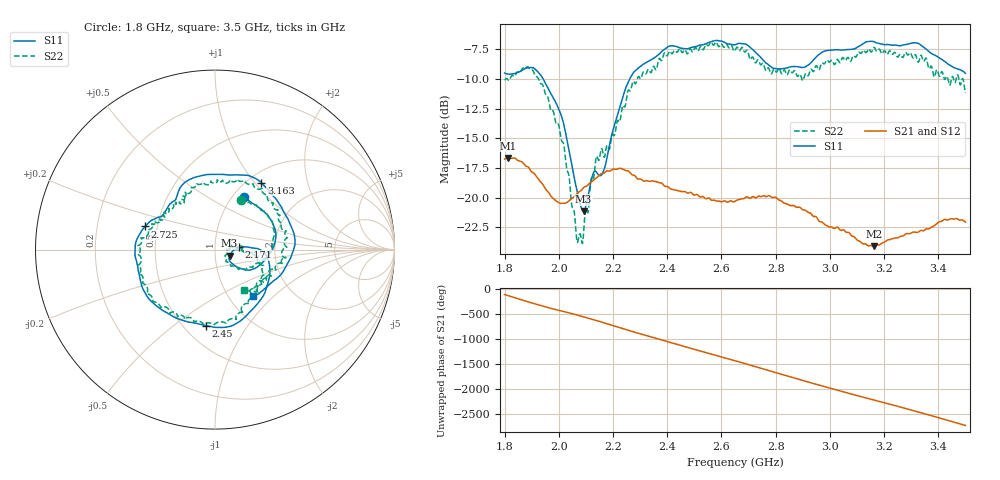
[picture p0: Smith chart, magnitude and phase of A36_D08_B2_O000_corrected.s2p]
! Created with skrf 1.9.0 (http://scikit-rf.org).
# Hz S RI R 50.0
!freq ReS11 ImS11 ReS21 ImS21 ReS12 ImS12 ReS22 ImS22
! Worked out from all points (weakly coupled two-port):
!   1601 points, 1.8 GHz to 3.5 GHz, reference 50 ohm
!   highest |S21| = -16.64 dB at 1.812 GHz (marker M1); lowest = -24.1 dB at 3.162 GHz (marker M2)
!   lowest |S11| = -21.1 dB at 2.091 GHz (marker M3), VSWR 1.19, Z = 58.7 - j3.9 ohm
!   |S11| at or under -10 dB: 1.943 GHz to 2.262 GHz (319 MHz wide, 15.2 % of centre)
!   |S22| runs from -23.9 to -6.9 dB; largest |S21 - S12| = 0.0028
!   S11 on the Smith chart (normalised r, x): 1.8 GHz: 1.13, +0.74; 2.171 GHz: 1.31, +0.04; 2.45 GHz: 0.64, -0.66; 2.725 GHz: 0.43, +0.13; 3.163 GHz: 1.15, +1.08; 3.5 GHz: 1.28, -0.75
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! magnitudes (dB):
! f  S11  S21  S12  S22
! 1.8 GHz  -9.5  -16.7  -16.7  -10.1
! 1.812 GHz  -9.6  -16.6  -16.6  -10.0
! 1.886 GHz  -9.1  -17.4  -17.4  -9.0
! 1.941 GHz  -10.0  -18.9  -18.9  -10.6
! 2.011 GHz  -13.2  -20.5  -20.5  -15.3
! 2.066 GHz  -19.3  -19.7  -19.7  -23.5
! 2.084 GHz  -20.9  -19.4  -19.3  -23.6
! 2.091 GHz  -21.1  -19.2  -19.2  -23.1
! 2.138 GHz  -17.8  -18.3  -18.3  -16.6
! 2.171 GHz  -17.3  -17.8  -17.9  -16.4
! 2.26 GHz  -10.1  -17.8  -17.8  -11.0
! 2.367 GHz  -8.0  -18.7  -18.7  -8.5
! 2.45 GHz  -7.4  -19.5  -19.5  -7.6
! 2.65 GHz  -7.1  -20.3  -20.3  -7.6
! 2.725 GHz  -7.7  -20.0  -20.0  -8.6
! 2.799 GHz  -9.1  -20.0  -20.0  -9.3
! 2.934 GHz  -8.5  -21.4  -21.4  -9.2
! 3.162 GHz  -6.9  -24.1  -24.0  -7.4
! 3.163 GHz  -6.9  -24.1  -24.1  -7.3
! 3.217 GHz  -7.1  -23.5  -23.5  -7.7
! 3.325 GHz  -7.0  -22.9  -22.9  -8.6
! 3.5 GHz  -9.5  -22.0  -22.0  -11.2
